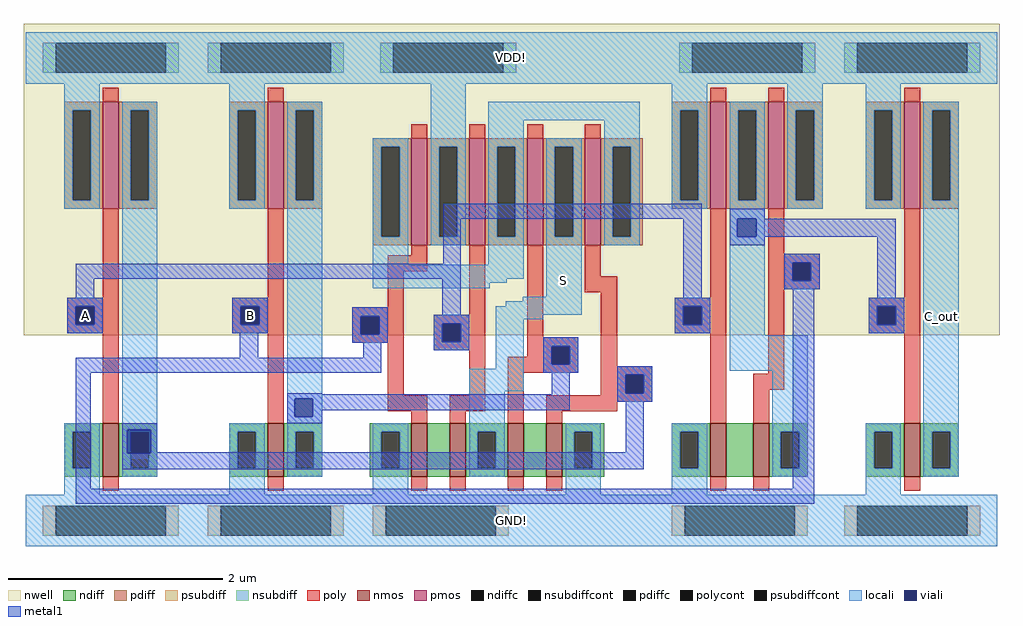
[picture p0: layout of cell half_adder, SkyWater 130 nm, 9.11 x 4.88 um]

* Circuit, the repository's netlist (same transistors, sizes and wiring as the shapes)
* NGSPICE file created from half_adder.ext - technology: sky130A

.subckt xor2 VDD GND Y A B NOT_A NOT_B
X0 a_94_6# B GND GND sky130_fd_pr__nfet_01v8 ad=1.05e+11p pd=1.42e+06u as=3.9e+11p ps=3.56e+06u w=500000u l=150000u
X1 a_274_6# NOT_B Y GND sky130_fd_pr__nfet_01v8 ad=1.05e+11p pd=1.42e+06u as=1.95e+11p ps=1.78e+06u w=500000u l=150000u
X2 Y A a_94_6# GND sky130_fd_pr__nfet_01v8 ad=0p pd=0u as=0p ps=0u w=500000u l=150000u
X3 a_n8_438# A VDD VDD sky130_fd_pr__pfet_01v8 ad=1.14e+12p pd=8.28e+06u as=3.9e+11p ps=2.78e+06u w=1e+06u l=150000u
X4 Y NOT_B a_n8_438# VDD sky130_fd_pr__pfet_01v8 ad=3.9e+11p pd=2.78e+06u as=0p ps=0u w=1e+06u l=150000u
X5 GND NOT_A a_274_6# GND sky130_fd_pr__nfet_01v8 ad=0p pd=0u as=0p ps=0u w=500000u l=150000u
X6 a_n8_438# NOT_A Y VDD sky130_fd_pr__pfet_01v8 ad=0p pd=0u as=0p ps=0u w=1e+06u l=150000u
X7 VDD B a_n8_438# VDD sky130_fd_pr__pfet_01v8 ad=0p pd=0u as=0p ps=0u w=1e+06u l=150000u
.ends

.subckt inv VDD GND Y A
X0 Y A GND GND sky130_fd_pr__nfet_01v8 ad=1.8e+11p pd=1.72e+06u as=1.8e+11p ps=1.72e+06u w=500000u l=150000u
X1 Y A VDD VDD sky130_fd_pr__pfet_01v8 ad=3.6e+11p pd=2.72e+06u as=3.6e+11p ps=2.72e+06u w=1e+06u l=150000u
.ends

.subckt nand2 VDD GND Y A B
X0 a_94_6# A GND GND sky130_fd_pr__nfet_01v8 ad=1.25e+11p pd=1.5e+06u as=1.8e+11p ps=1.72e+06u w=500000u l=150000u
X1 VDD B Y VDD sky130_fd_pr__pfet_01v8 ad=7.2e+11p pd=5.44e+06u as=3.9e+11p ps=2.78e+06u w=1e+06u l=150000u
X2 Y A VDD VDD sky130_fd_pr__pfet_01v8 ad=0p pd=0u as=0p ps=0u w=1e+06u l=150000u
X3 Y B a_94_6# GND sky130_fd_pr__nfet_01v8 ad=1.8e+11p pd=1.72e+06u as=0p ps=0u w=500000u l=150000u
.ends

*.subckt half_adder S A B C_out
Xxor2_0 VDD GND S A B inv_2/Y inv_1/Y xor2
Xinv_0 VDD GND C_out inv_0/A inv
Xinv_1 VDD GND inv_1/Y B inv
Xinv_2 VDD GND inv_2/Y A inv
Xnand2_0 VDD GND inv_0/A A B nand2
*.ends

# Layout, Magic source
magic
tech sky130A
<< poly >>
rect 422 265 455 273
rect 422 248 430 265
rect 447 248 455 265
rect 422 240 455 248
rect -247 224 -214 232
rect -247 207 -239 224
rect -222 207 -214 224
rect -247 199 -214 207
rect -93 224 -60 232
rect -93 207 -85 224
rect -68 207 -60 224
rect 320 224 353 232
rect -93 199 -60 207
rect 19 215 52 223
rect 19 198 27 215
rect 44 198 52 215
rect 19 190 52 198
rect 95 208 128 216
rect 95 191 103 208
rect 120 191 128 208
rect 320 207 328 224
rect 345 207 353 224
rect 320 199 353 207
rect 501 224 534 232
rect 501 207 509 224
rect 526 207 534 224
rect 501 199 534 207
rect 95 183 128 191
rect 197 187 230 195
rect 197 170 205 187
rect 222 170 230 187
rect 197 162 230 170
rect 266 160 299 168
rect 266 143 274 160
rect 291 143 299 160
rect 266 135 299 143
<< polycont >>
rect 430 248 447 265
rect -239 207 -222 224
rect -85 207 -68 224
rect 27 198 44 215
rect 103 191 120 208
rect 328 207 345 224
rect 509 207 526 224
rect 205 170 222 187
rect 274 143 291 160
<< locali >>
rect -286 432 621 480
rect -247 224 -214 232
rect -247 207 -239 224
rect -222 207 -214 224
rect -247 199 -214 207
rect -196 109 -163 315
rect -93 224 -60 232
rect -93 207 -85 224
rect -68 207 -60 224
rect -93 199 -60 207
rect -42 138 -9 315
rect 371 306 404 315
rect 371 289 378 306
rect 396 289 404 306
rect 19 215 52 223
rect 200 216 233 281
rect 320 224 353 232
rect 19 198 27 215
rect 44 198 52 215
rect 19 190 52 198
rect 95 208 128 216
rect 95 191 103 208
rect 120 191 128 208
rect 320 207 328 224
rect 345 207 353 224
rect 320 199 353 207
rect 95 183 128 191
rect 197 187 230 195
rect 197 170 205 187
rect 222 170 230 187
rect 197 162 230 170
rect -42 121 -35 138
rect -18 121 -9 138
rect 266 160 299 168
rect 371 164 404 289
rect 422 265 455 273
rect 422 248 430 265
rect 447 248 455 265
rect 422 240 455 248
rect 501 224 534 232
rect 501 207 509 224
rect 526 207 534 224
rect 501 199 534 207
rect 266 143 274 160
rect 291 143 299 160
rect 266 135 299 143
rect -42 115 -9 121
rect 552 115 585 315
rect -196 87 -191 109
rect -169 87 -163 109
rect -196 82 -163 87
rect -286 0 621 48
<< viali >>
rect -239 207 -222 224
rect -85 207 -68 224
rect 378 289 396 306
rect 27 198 44 215
rect 103 191 120 208
rect 328 207 345 224
rect 205 170 222 187
rect -35 121 -18 138
rect 430 248 447 265
rect 509 207 526 224
rect 274 143 291 160
rect -191 87 -169 109
<< metal1 >>
rect 104 306 345 320
rect 104 264 120 306
rect -239 250 120 264
rect -239 232 -222 250
rect -247 224 -214 232
rect -247 207 -239 224
rect -222 207 -214 224
rect -247 199 -214 207
rect -93 224 -60 232
rect -93 207 -85 224
rect -68 207 -60 224
rect -93 199 -60 207
rect 19 215 52 223
rect 103 216 120 250
rect 328 232 345 306
rect 371 306 404 315
rect 371 289 378 306
rect 396 289 526 306
rect 371 281 404 289
rect 422 265 455 273
rect 422 248 430 265
rect 447 248 455 265
rect 422 240 455 248
rect 320 224 353 232
rect -86 176 -69 199
rect 19 198 27 215
rect 44 198 52 215
rect 19 190 52 198
rect 95 208 128 216
rect 95 191 103 208
rect 120 191 128 208
rect 320 207 328 224
rect 345 207 353 224
rect 320 199 353 207
rect 29 176 46 190
rect 95 183 128 191
rect 197 187 230 195
rect -239 162 46 176
rect 197 170 205 187
rect 222 170 230 187
rect 197 162 230 170
rect -239 54 -225 162
rect -42 142 -9 143
rect 205 142 222 162
rect -42 138 222 142
rect -42 121 -35 138
rect -18 127 222 138
rect 266 160 299 168
rect 266 143 274 160
rect 291 143 299 160
rect 266 135 299 143
rect -18 121 -9 127
rect -42 115 -9 121
rect -196 109 -163 115
rect -196 87 -191 109
rect -169 88 -163 109
rect 274 88 291 135
rect -169 87 291 88
rect -196 72 291 87
rect 430 54 450 240
rect 509 232 526 289
rect 501 224 534 232
rect 501 207 509 224
rect 526 207 534 224
rect 501 199 534 207
rect -239 40 450 54
use inv  inv_0
transform 1 0 502 0 1 62
box -42 -62 121 426
use inv  inv_1
transform 1 0 -92 0 1 62
box -42 -62 121 426
use inv  inv_2
transform 1 0 -246 0 1 62
box -42 -62 121 426
use nand2  nand2_0
transform 1 0 321 0 1 62
box -42 -62 175 426
use xor2  xor2_0
transform 1 0 42 0 1 62
box -42 -62 283 426
<< labels >>
flabel locali s -93 199 -60 232 0 FreeSerif 80 0 0 0 B
port 2 nsew
flabel locali s -247 199 -214 232 0 FreeSerif 80 0 0 0 A
port 1 nsew
flabel locali s 200 216 233 281 0 FreeSerif 80 0 0 0 S
port 0 nsew
flabel locali s 552 115 585 315 0 FreeSerif 80 0 0 0 C_out
port 6 nsew
flabel locali -286 432 621 480 0 FreeSerif 80 0 0 0 VDD!
flabel locali s -286 0 621 48 0 FreeSerif 80 0 0 0 GND!
<< end >>

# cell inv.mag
magic
tech sky130A
<< nwell >>
rect -42 135 121 426
<< nmos >>
rect 32 3 47 53
<< pmos >>
rect 32 253 47 353
<< ndiff >>
rect -4 45 32 53
rect -4 11 4 45
rect 21 11 32 45
rect -4 3 32 11
rect 47 45 83 53
rect 47 11 58 45
rect 75 11 83 45
rect 47 3 83 11
<< pdiff >>
rect -4 345 32 353
rect -4 261 4 345
rect 21 261 32 345
rect -4 253 32 261
rect 47 345 83 353
rect 47 261 58 345
rect 75 261 83 345
rect 47 253 83 261
<< ndiffc >>
rect 4 11 21 45
rect 58 11 75 45
<< pdiffc >>
rect 4 261 21 345
rect 58 261 75 345
<< psubdiff >>
rect -24 -52 -12 -24
rect 91 -52 103 -24
<< nsubdiff >>
rect -24 380 -12 408
rect 91 380 103 408
<< psubdiffcont >>
rect -12 -52 91 -24
<< nsubdiffcont >>
rect -12 380 91 408
<< poly >>
rect 32 353 47 366
rect 32 170 47 253
rect -1 162 47 170
rect -1 145 7 162
rect 24 145 47 162
rect -1 137 47 145
rect 32 53 47 137
rect 32 -10 47 3
<< polycont >>
rect 7 145 24 162
<< locali >>
rect -40 408 119 418
rect -40 380 -12 408
rect 91 380 119 408
rect -40 370 119 380
rect -4 345 29 370
rect -4 261 4 345
rect 21 261 29 345
rect -4 253 29 261
rect 50 345 83 353
rect 50 261 58 345
rect 75 261 83 345
rect -1 162 32 170
rect -1 145 7 162
rect 24 145 32 162
rect -1 137 32 145
rect -4 45 29 53
rect -4 11 4 45
rect 21 11 29 45
rect -4 -14 29 11
rect 50 45 83 261
rect 50 11 58 45
rect 75 11 83 45
rect 50 3 83 11
rect -40 -24 119 -14
rect -40 -52 -12 -24
rect 91 -52 119 -24
rect -40 -62 119 -52
<< labels >>
flabel locali -40 -62 119 -14 1 FreeSerif 80 0 0 0 GND!
port 1 n
flabel locali 50 53 83 253 1 FreeSerif 80 0 0 0 Y
port 2 n
flabel locali -1 137 32 170 0 FreeSerif 80 0 0 0 A
port 3 nsew
flabel locali -40 370 119 418 0 FreeSerif 80 0 0 0 VDD!
port 0 nsew
<< end >>

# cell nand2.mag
magic
tech sky130A
<< nwell >>
rect -42 135 175 426
<< nmos >>
rect 32 3 47 53
rect 72 3 87 53
<< pmos >>
rect 32 253 47 353
rect 86 253 101 353
<< ndiff >>
rect -4 45 32 53
rect -4 11 4 45
rect 21 11 32 45
rect -4 3 32 11
rect 47 3 72 53
rect 87 45 123 53
rect 87 11 98 45
rect 115 11 123 45
rect 87 3 123 11
<< pdiff >>
rect -4 345 32 353
rect -4 261 4 345
rect 21 261 32 345
rect -4 253 32 261
rect 47 345 86 353
rect 47 261 58 345
rect 75 261 86 345
rect 47 253 86 261
rect 101 345 137 353
rect 101 261 112 345
rect 129 261 137 345
rect 101 253 137 261
<< ndiffc >>
rect 4 11 21 45
rect 98 11 115 45
<< pdiffc >>
rect 4 261 21 345
rect 58 261 75 345
rect 112 261 129 345
<< psubdiff >>
rect -4 -52 8 -24
rect 111 -52 123 -24
<< nsubdiff >>
rect 3 380 15 408
rect 118 380 130 408
<< psubdiffcont >>
rect 8 -52 111 -24
<< nsubdiffcont >>
rect 15 380 118 408
<< poly >>
rect 32 353 47 366
rect 86 353 101 366
rect 32 170 47 253
rect -1 162 47 170
rect -1 145 7 162
rect 24 145 47 162
rect -1 137 47 145
rect 32 53 47 137
rect 86 211 101 253
rect 86 203 134 211
rect 86 186 109 203
rect 126 186 134 203
rect 86 178 134 186
rect 86 99 101 178
rect 72 84 101 99
rect 72 53 87 84
rect 32 -10 47 3
rect 72 -10 87 3
<< polycont >>
rect 7 145 24 162
rect 109 186 126 203
<< locali >>
rect -40 408 173 418
rect -40 380 15 408
rect 118 380 173 408
rect -40 370 173 380
rect -4 345 29 370
rect -4 261 4 345
rect 21 261 29 345
rect -4 253 29 261
rect 50 345 83 353
rect 50 261 58 345
rect 75 261 83 345
rect -1 162 32 170
rect -1 145 7 162
rect 24 145 32 162
rect -1 137 32 145
rect 50 135 83 261
rect 104 345 137 370
rect 104 261 112 345
rect 129 261 137 345
rect 104 253 137 261
rect 101 203 134 211
rect 101 186 109 203
rect 126 186 134 203
rect 101 178 134 186
rect 50 102 123 135
rect -4 45 29 53
rect -4 11 4 45
rect 21 11 29 45
rect -4 -14 29 11
rect 90 45 123 102
rect 90 11 98 45
rect 115 11 123 45
rect 90 3 123 11
rect -40 -24 173 -14
rect -40 -52 8 -24
rect 111 -52 173 -24
rect -40 -62 173 -52
<< labels >>
flabel locali -1 137 32 170 0 FreeSerif 80 0 0 0 A
port 3 nsew
flabel locali 101 178 134 211 0 FreeSerif 80 0 0 0 B
port 8 nsew
flabel locali 50 102 83 253 0 FreeSerif 80 0 0 0 Y
port 2 nsew
flabel locali -40 370 173 418 0 FreeSerif 80 0 0 0 VDD!
port 0 nsew
flabel locali -40 -62 173 -14 0 FreeSerif 80 0 0 0 GND!
port 1 nsew
<< end >>

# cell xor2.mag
magic
tech sky130A
<< nwell >>
rect -42 135 283 426
<< nmos >>
rect 32 3 47 53
rect 68 3 83 53
rect 122 3 137 53
rect 158 3 173 53
<< pmos >>
rect 32 219 47 319
rect 86 219 101 319
rect 140 219 155 319
rect 194 219 209 319
<< ndiff >>
rect -7 45 32 53
rect -7 11 4 45
rect 21 11 32 45
rect -7 3 32 11
rect 47 3 68 53
rect 83 45 122 53
rect 83 11 94 45
rect 111 11 122 45
rect 83 3 122 11
rect 137 3 158 53
rect 173 45 212 53
rect 173 11 184 45
rect 201 11 212 45
rect 173 3 212 11
<< pdiff >>
rect -4 311 32 319
rect -4 227 4 311
rect 21 227 32 311
rect -4 219 32 227
rect 47 311 86 319
rect 47 227 58 311
rect 75 227 86 311
rect 47 219 86 227
rect 101 311 140 319
rect 101 227 112 311
rect 129 227 140 311
rect 101 219 140 227
rect 155 311 194 319
rect 155 227 166 311
rect 183 227 194 311
rect 155 219 194 227
rect 209 311 248 319
rect 209 227 220 311
rect 237 227 248 311
rect 209 219 248 227
<< ndiffc >>
rect 4 11 21 45
rect 94 11 111 45
rect 184 11 201 45
<< pdiffc >>
rect 4 227 21 311
rect 58 227 75 311
rect 112 227 129 311
rect 166 227 183 311
rect 220 227 237 311
<< psubdiff >>
rect -4 -52 8 -24
rect 111 -52 123 -24
<< nsubdiff >>
rect 3 380 15 408
rect 118 380 130 408
<< psubdiffcont >>
rect 8 -52 111 -24
<< nsubdiffcont >>
rect 15 380 118 408
<< poly >>
rect 32 319 47 332
rect 86 319 101 332
rect 140 319 155 332
rect 194 319 209 332
rect 32 210 47 219
rect 10 195 47 210
rect 10 161 25 195
rect -23 153 25 161
rect 86 154 101 219
rect -23 136 -15 153
rect 2 136 25 153
rect -23 128 25 136
rect 10 79 25 128
rect 53 146 101 154
rect 53 129 61 146
rect 78 129 101 146
rect 53 121 101 129
rect 86 79 101 121
rect 140 133 155 219
rect 194 190 209 219
rect 194 175 224 190
rect 140 125 188 133
rect 140 115 163 125
rect 10 64 47 79
rect 32 53 47 64
rect 68 64 101 79
rect 122 108 163 115
rect 180 108 188 125
rect 122 100 188 108
rect 209 106 224 175
rect 68 53 83 64
rect 122 53 137 100
rect 209 98 257 106
rect 209 81 232 98
rect 249 81 257 98
rect 209 79 257 81
rect 158 73 257 79
rect 158 64 224 73
rect 158 53 173 64
rect 32 -10 47 3
rect 68 -10 83 3
rect 122 -10 137 3
rect 158 -10 173 3
<< polycont >>
rect -15 136 2 153
rect 61 129 78 146
rect 163 108 180 125
rect 232 81 249 98
<< locali >>
rect -40 408 281 418
rect -40 380 15 408
rect 118 380 281 408
rect -40 370 281 380
rect -4 311 29 319
rect -4 227 4 311
rect 21 227 29 311
rect -4 201 29 227
rect 50 311 83 370
rect 50 227 58 311
rect 75 227 83 311
rect 50 219 83 227
rect 104 336 245 353
rect 104 311 137 336
rect 104 227 112 311
rect 129 227 137 311
rect 104 201 137 227
rect -4 188 137 201
rect 158 311 191 319
rect 158 227 166 311
rect 183 227 191 311
rect -4 184 121 188
rect -4 179 105 184
rect 158 171 191 227
rect 212 311 245 336
rect 212 227 220 311
rect 237 227 245 311
rect 212 219 245 227
rect 136 167 191 171
rect 120 162 191 167
rect -23 153 10 161
rect 111 154 191 162
rect -23 136 -15 153
rect 2 136 10 153
rect -23 128 10 136
rect 53 146 86 154
rect 53 129 61 146
rect 78 129 86 146
rect 53 121 86 129
rect 111 150 155 154
rect 111 104 137 150
rect 86 83 137 104
rect 155 125 188 133
rect 155 108 163 125
rect 180 108 188 125
rect 155 100 188 108
rect 224 98 257 106
rect -4 45 29 53
rect -4 11 4 45
rect 21 11 29 45
rect -4 -14 29 11
rect 86 45 119 83
rect 224 81 232 98
rect 249 81 257 98
rect 224 73 257 81
rect 86 11 94 45
rect 111 11 119 45
rect 86 3 119 11
rect 176 45 209 53
rect 176 11 184 45
rect 201 11 209 45
rect 176 -14 209 11
rect -40 -24 281 -14
rect -40 -52 8 -24
rect 111 -52 281 -24
rect -40 -62 281 -52
<< labels >>
flabel locali -40 370 281 418 0 FreeSerif 80 0 0 0 VDD!
port 0 nsew
flabel locali -40 -62 281 -14 0 FreeSerif 80 0 0 0 GND!
port 1 nsew
flabel locali 53 121 86 154 0 FreeSerif 80 0 0 0 A
port 11 nsew
flabel locali -23 128 10 161 0 FreeSerif 80 0 0 0 B
port 12 nsew
flabel locali 158 154 191 219 0 FreeSerif 80 0 0 0 Y
port 4 nsew
flabel locali 155 100 188 133 0 FreeSerif 80 0 0 0 NOT_B
port 14 nsew
flabel locali 224 73 257 106 0 FreeSerif 80 0 0 0 NOT_A
port 13 nsew
<< end >>
